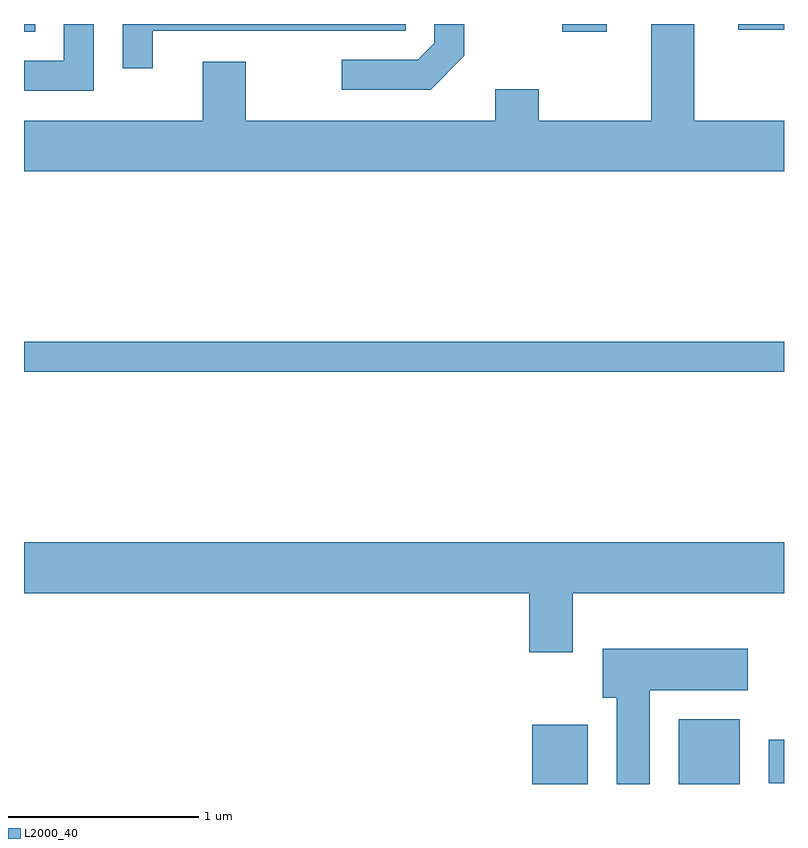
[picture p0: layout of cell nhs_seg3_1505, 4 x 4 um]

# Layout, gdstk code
import gdstk
lib = gdstk.Library(unit=1e-6, precision=1e-09)
def R(c, l, rs):  # rectangles x0, y0, x1, y1
    for r in rs: c.add(gdstk.rectangle(r[:2], r[2:], *l))
def P(c, l, *ps):  # polygons
    for p in ps: c.add(gdstk.Polygon(p, *l))
L2000_40 = (2000, 40)

nhs_seg3_1505 = lib.new_cell('nhs_seg3_1505')
R(nhs_seg3_1505, L2000_40, [(232.286,1133.892,232.579,1134.204), (233.056,1133.892,233.379,1134.234), (233.531,1133.896,233.611,1134.124), (229.611,1136.061,233.611,1136.219), (229.611,1137.851,229.669,1137.892), (232.443,1137.851,232.679,1137.892), (233.371,1137.861,233.611,1137.892)])
P(nhs_seg3_1505, L2000_40, [(233.611,1137.384),(233.139,1137.384),(233.139,1137.892),(232.911,1137.892),(232.911,1137.384),(232.319,1137.384),(232.319,1137.549),(232.091,1137.549),(232.091,1137.384),(230.779,1137.384),(230.779,1137.694),(230.551,1137.694),(230.551,1137.384),(229.611,1137.384),(229.611,1137.116),(233.611,1137.116)],
  [(229.979,1137.892),(229.821,1137.892),(229.821,1137.699),(229.611,1137.699),(229.611,1137.541),(229.979,1137.541)],
  [(231.929,1137.724),(231.929,1137.892),(231.771,1137.892),(231.771,1137.792),(231.684,1137.704),(231.283,1137.704),(231.283,1137.546),(231.752,1137.546)],
  [(230.289,1137.856),(231.619,1137.856),(231.619,1137.892),(230.131,1137.892),(230.131,1137.658),(230.289,1137.658)],
  [(232.499,1134.896),(233.611,1134.896),(233.611,1135.164),(229.611,1135.164),(229.611,1134.896),(232.271,1134.896),(232.271,1134.586),(232.499,1134.586)],
  [(232.904,1134.386),(233.419,1134.386),(233.419,1134.604),(232.656,1134.604),(232.656,1134.346),(232.731,1134.346),(232.731,1133.892),(232.904,1133.892)])

lib.write_gds('nhs_seg3_1505.gds')
